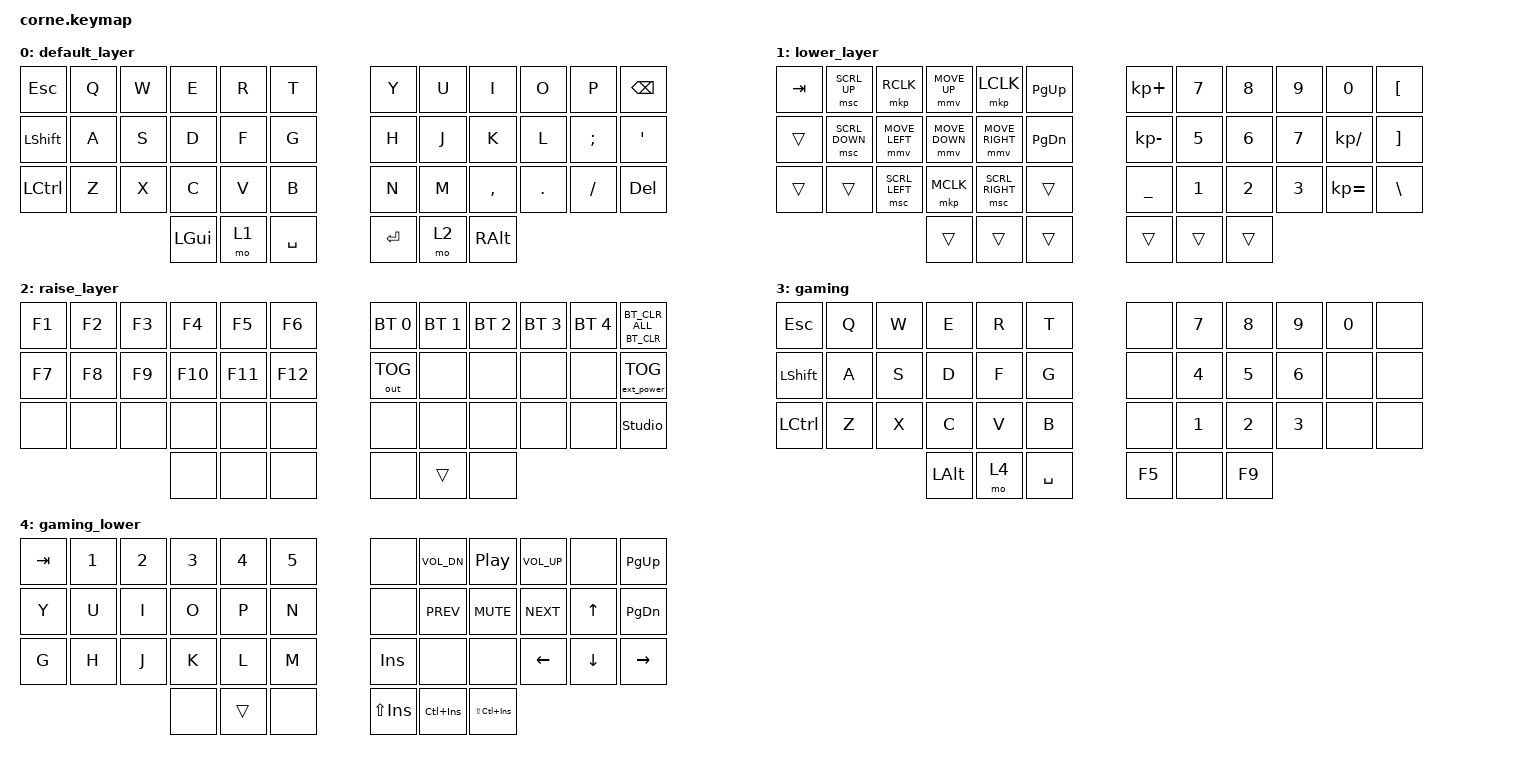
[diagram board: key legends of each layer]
/*
 * Copyright (c) 2020 The ZMK Contributors
 *
 * SPDX-License-Identifier: MIT
 */

#include <behaviors.dtsi>
#include <dt-bindings/zmk/bt.h>
#include <dt-bindings/zmk/ext_power.h>
#include <dt-bindings/zmk/keys.h>
#include <dt-bindings/zmk/outputs.h>
#include <dt-bindings/zmk/pointing.h>

/ {
    combos {
        compatible = "zmk,combos";

        gaming {
            bindings = <&tog 3>;
            key-positions = <39 40 41>;
        };
    };

    behaviors {
        bluetooth_clr: bluetooth_clr {
            compatible = "zmk,behavior-hold-tap";
            label = "BLUETOOTH_CLR";
            bindings = <&bt>, <&bt>;

            #binding-cells = <2>;
            tapping-term-ms = <50>;
        };
    };

    keymap {
        compatible = "zmk,keymap";

        default_layer {
            bindings = <
&kp ESCAPE  &kp Q  &kp W  &kp E     &kp R  &kp T        &kp Y    &kp U  &kp I      &kp O    &kp P     &kp BSPC
&kp LSHFT   &kp A  &kp S  &kp D     &kp F  &kp G        &kp H    &kp J  &kp K      &kp L    &kp SEMI  &kp SQT
&kp LCTRL   &kp Z  &kp X  &kp C     &kp V  &kp B        &kp N    &kp M  &kp COMMA  &kp DOT  &kp FSLH  &kp DELETE
                          &kp LGUI  &mo 1  &kp SPACE    &kp RET  &mo 2  &kp RALT
            >;
        };

        lower_layer {
            bindings = <
&kp TAB  &msc SCRL_UP    &mkp RCLK       &mmv MOVE_UP    &mkp LCLK        &kp PAGE_UP      &kp KP_PLUS     &kp N7        &kp N8        &kp N9        &kp N0         &kp LBKT
&trans   &msc SCRL_DOWN  &mmv MOVE_LEFT  &mmv MOVE_DOWN  &mmv MOVE_RIGHT  &kp PAGE_DOWN    &kp KP_MINUS    &kp NUMBER_5  &kp NUMBER_6  &kp N7        &kp KP_DIVIDE  &kp RBKT
&trans   &trans          &msc SCRL_LEFT  &mkp MCLK       &msc SCRL_RIGHT  &trans           &kp UNDERSCORE  &kp NUMBER_1  &kp NUMBER_2  &kp NUMBER_3  &kp KP_EQUAL   &kp BSLH
                                         &trans          &trans           &trans           &trans          &trans        &trans
            >;
        };

        raise_layer {
            bindings = <
&kp F1  &kp F2  &kp F3  &kp F4   &kp F5   &kp F6     &bt BT_SEL 0  &bt BT_SEL 1  &bt BT_SEL 2  &bt BT_SEL 3  &bt BT_SEL 4  &bluetooth_clr BT_CLR BT_CLR_ALL
&kp F7  &kp F8  &kp F9  &kp F10  &kp F11  &kp F12    &out OUT_TOG  &none         &none         &none         &none         &ext_power EP_TOG
&none   &none   &none   &none    &none    &none      &none         &none         &none         &none         &none         &studio_unlock
                        &none    &none    &none      &none         &trans        &none
            >;
        };

        gaming {
            bindings = <
&kp ESC    &kp Q  &kp W  &kp E     &kp R  &kp T        &none   &kp N7  &kp N8  &kp N9  &kp N0  &none
&kp LSHFT  &kp A  &kp S  &kp D     &kp F  &kp G        &none   &kp N4  &kp N5  &kp N6  &none   &none
&kp LCTRL  &kp Z  &kp X  &kp C     &kp V  &kp B        &none   &kp N1  &kp N2  &kp N3  &none   &none
                         &kp LALT  &mo 4  &kp SPACE    &kp F5  &none   &kp F9
            >;
        };

        gaming_lower {
            bindings = <
&kp TAB  &kp N1  &kp N2  &kp N3  &kp N4  &kp N5    &none           &kp C_VOL_DN    &kp C_PLAY_PAUSE    &kp C_VOLUME_UP  &none     &kp PG_UP
&kp Y    &kp U   &kp I   &kp O   &kp P   &kp N     &none           &kp C_PREV      &kp K_MUTE          &kp C_NEXT       &kp UP    &kp PG_DN
&kp G    &kp H   &kp J   &kp K   &kp L   &kp M     &kp INSERT      &none           &none               &kp LEFT         &kp DOWN  &kp RIGHT
                         &none   &trans  &none     &kp LS(INSERT)  &kp LC(INSERT)  &kp LS(LC(INSERT))
            >;
        };
    };
};
